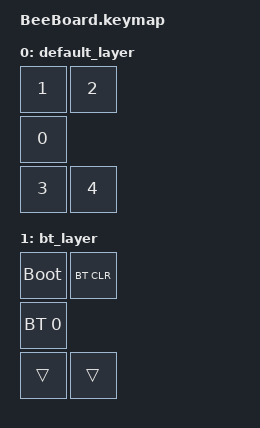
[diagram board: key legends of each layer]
#include <behaviors.dtsi>
#include <dt-bindings/zmk/keys.h>
#include <dt-bindings/zmk/bt.h>

/ {
    keymap {
        compatible = "zmk,keymap";

        default_layer {
            bindings = <
                &kp N1   &kp N2
                    &kp N0
                &kp N3   &kp N4
            >;
        };

        bt_layer {
            bindings = <
                &bootloader                      &bt BT_CLR
                                &bt BT_SEL 0
                &trans                           &trans
            >;
        };
    };

    combos {
        compatible = "zmk,combos";

        bt_combo {
            timeout-ms = <50>; // Timeout for pressing keys 3 and 4 together
            bindings = <&mo 1>; 
            key-positions = <3 4>; // Logical positions for keys 3 and 4
        };
    };
};
